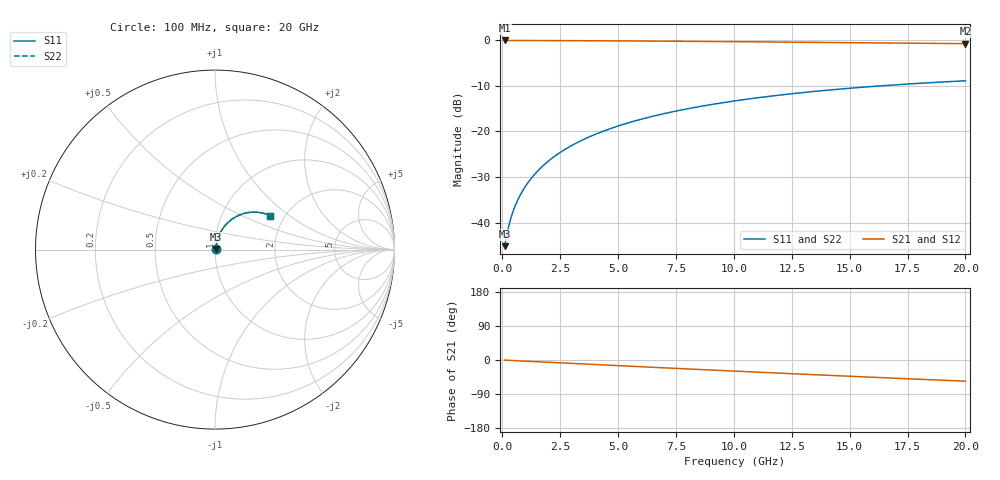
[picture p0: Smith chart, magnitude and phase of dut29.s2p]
! Touchstone file exported from HFSS 2026.1.0
!  File:  C:/ffzhzh/LocalFiles/Ansys_Project_Files/temp_train_BSMRDL_29_1782882174_13352.aedt
!  Generated:  01:04:17 PM Jul  1, 2026
!  Design:  BSMRDL
!  Project:  temp_train_BSMRDL_29_1782882174_13352
! Variables:
!  h_bsmrdl = 2.78um
!  h_ox = 20um
!  h_rdl = 5um
!  h_sub = 80um
!  h_tmrdl = 5um
!  h_tsv = 80um
!  h_via = 3um
!  l_bsmrdl = 912.58um
!  l_sub = 1312.58um
!  l_tmrdl = 200um
!  m_sub = 200um
!  pitch = 42.76um
!  r_tsv = 6um
!  s_tmrdl = 10um
!  w_bsmrdl = 25.93um
!  w_sub = 500um
!  w_tmrdl = 12um
!  x_tsv_center1 = 206um
!  x_tsv_center2 = 1144.51um
!  x_tsv_center3 = 1356.51um
!  x_tsv_center4 = 2295.02um
!  x_tsv_center5 = 2507.02um
!  x_tsv_center6 = 3445.53um
# GHz S MA R 50.000000
! Terminal data exported
! Port[1] = BSM_RDL1_1_T1
! Port[2] = BSM_RDL1_1_T2
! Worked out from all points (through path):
!   200 points, 100 MHz to 20 GHz, reference 50 ohm
!   highest |S21| = -0.04 dB at 100 MHz (marker M1); lowest = -0.7 dB at 20 GHz (marker M2)
!   group delay of S21, straight-line fit = 7.77 ps
!   lowest |S11| = -45.2 dB at 100 MHz (marker M3), VSWR 1.01, Z = 50.5 + j0.282 ohm
!   |S11| at or under -10 dB: start of sweep to 16.34 GHz
!   |S22| runs from -45.2 to -8.9 dB; largest |S21 - S12| = 7.3e-15
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0.1  0.005518 30.4  0.9953 -0.3  0.9953 -0.3  0.005518 30.4
! Gamma 0 0 0 0
! Port Impedance 50 0 50 0
0.2  0.007452 47.0  0.995 -0.6  0.995 -0.6  0.007452 47.0
0.3  0.009648 55.4  0.9946 -1.0  0.9946 -1.0  0.009647 55.4
0.4  0.01186 60.3  0.9943 -1.3  0.9943 -1.3  0.01186 60.3
0.5  0.01405 63.7  0.994 -1.6  0.994 -1.6  0.01405 63.7
0.6  0.01622 66.1  0.9938 -1.9  0.9938 -1.9  0.01622 66.1
0.8  0.02059 69.6  0.9935 -2.5  0.9935 -2.5  0.02059 69.6
1.1  0.02722 72.7  0.9931 -3.3  0.9931 -3.3  0.02722 72.7
1.3  0.03169 73.9  0.9928 -3.9  0.9928 -3.9  0.03169 73.9
1.6  0.03845 75.0  0.9925 -4.8  0.9925 -4.8  0.03846 75.0
2.1  0.0498 75.6  0.9918 -6.3  0.9918 -6.3  0.0498 75.6
2.7  0.06342 75.3  0.9908 -8.1  0.9908 -8.1  0.06343 75.3
3.5  0.08148 74.2  0.9891 -10.5  0.9891 -10.5  0.08149 74.2
4.2  0.0971 72.8  0.9873 -12.6  0.9873 -12.6  0.09712 72.8
5  0.1147 70.9  0.985 -14.9  0.985 -14.9  0.1147 70.9
5.9  0.1341 68.6  0.9821 -17.5  0.9821 -17.5  0.1341 68.6
6.8  0.153 66.3  0.9788 -20.2  0.9788 -20.2  0.153 66.3
8.3  0.1833 62.3  0.9727 -24.5  0.9727 -24.5  0.1833 62.3
10.1  0.2175 57.5  0.9646 -29.5  0.9646 -29.5  0.2175 57.5
13.4  0.2736 48.7  0.9487 -38.6  0.9487 -38.6  0.2737 48.7
16.7  0.321 40.2  0.9329 -47.4  0.9329 -47.4  0.3211 40.2
20  0.3593 31.9  0.9183 -55.9  0.9183 -55.9  0.3595 31.9
